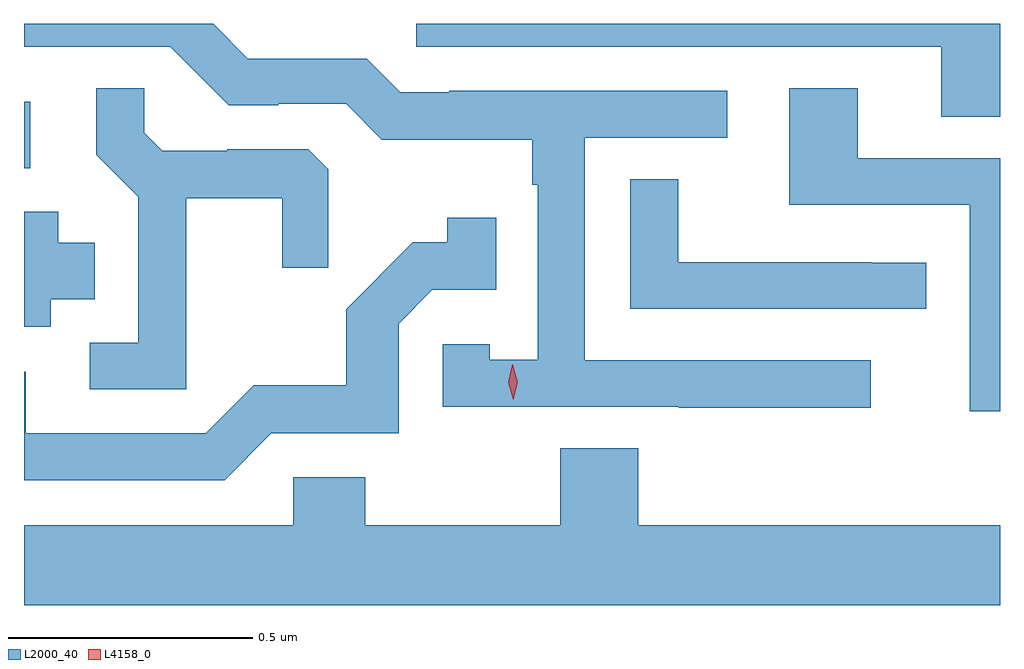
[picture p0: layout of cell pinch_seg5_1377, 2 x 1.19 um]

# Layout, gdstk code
import gdstk
lib = gdstk.Library(unit=1e-6, precision=1e-09)
def R(c, l, rs):  # rectangles x0, y0, x1, y1
    for r in rs: c.add(gdstk.rectangle(r[:2], r[2:], *l))
def P(c, l, *ps):  # polygons
    for p in ps: c.add(gdstk.Polygon(p, *l))
L2000_40 = (2000, 40)
L4158_0 = (4158, 0)

pinch_seg5_1377 = lib.new_cell('pinch_seg5_1377')
R(pinch_seg5_1377, L2000_40, [(286.887,892.287,286.9,892.423)])
P(pinch_seg5_1377, L2000_40, [(288.622,891.894),(288.036,891.894),(288.036,892.35),(288.328,892.35),(288.328,892.446),(287.758,892.446),(287.758,892.443),(287.658,892.443),(287.589,892.512),(287.346,892.512),(287.275,892.583),(286.887,892.583),(286.887,892.536),(287.187,892.536),(287.307,892.416),(287.408,892.416),(287.408,892.419),(287.547,892.419),(287.62,892.346),(287.928,892.346),(287.928,892.253),(287.94,892.253),(287.94,891.895),(287.841,891.895),(287.841,891.927),(287.745,891.927),(287.745,891.798),(288.229,891.798),(288.229,891.796),(288.622,891.796)],
  [(288.887,892.583),(287.691,892.583),(287.691,892.536),(288.767,892.536),(288.767,892.393),(288.887,892.393)],
  [(288.887,892.308),(288.595,892.308),(288.595,892.451),(288.455,892.451),(288.455,892.212),(288.825,892.212),(288.825,891.789),(288.887,891.789)],
  [(287.219,892.226),(287.416,892.226),(287.416,892.083),(287.51,892.083),(287.51,892.285),(287.469,892.326),(287.304,892.326),(287.304,892.323),(287.17,892.323),(287.133,892.36),(287.133,892.451),(287.035,892.451),(287.035,892.315),(287.121,892.229),(287.121,891.93),(287.022,891.93),(287.022,891.834),(287.219,891.834)],
  [(288.736,892.094),(288.623,892.094),(288.623,892.095),(288.228,892.095),(288.228,892.265),(288.129,892.265),(288.129,891.999),(288.736,891.999)],
  [(286.942,892.019),(287.032,892.019),(287.032,892.135),(286.957,892.135),(286.957,892.198),(286.887,892.198),(286.887,891.962),(286.942,891.962)],
  [(287.394,891.744),(287.655,891.744),(287.655,891.969),(287.724,892.038),(287.855,892.038),(287.855,892.186),(287.754,892.186),(287.754,892.136),(287.684,892.136),(287.547,891.998),(287.547,891.843),(287.358,891.843),(287.259,891.744),(286.891,891.744),(286.891,891.87),(286.887,891.87),(286.887,891.648),(287.298,891.648)],
  [(288.887,891.556),(288.146,891.556),(288.146,891.713),(287.986,891.713),(287.986,891.556),(287.586,891.556),(287.586,891.654),(287.439,891.654),(287.439,891.556),(286.887,891.556),(286.887,891.392),(288.887,891.392)])
P(pinch_seg5_1377, L4158_0, [(287.89,891.813),(287.89,891.813),(287.879,891.849),(287.888,891.885),(287.889,891.886),(287.889,891.885),(287.899,891.849),(287.89,891.813)])

lib.write_gds('pinch_seg5_1377.gds')
